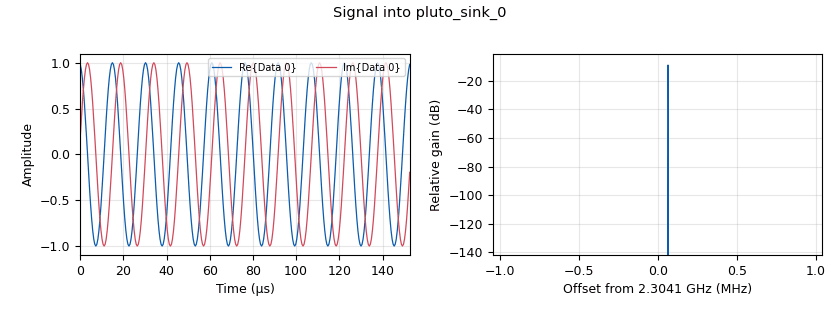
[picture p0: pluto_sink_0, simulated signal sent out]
<?xml version='1.0' encoding='utf-8'?>
<?grc format='1' created='3.7.12'?>
<flow_graph>
<block>
<key>options</key>
<param><key>id</key><value>top_block</value></param>
<param><key>generate_options</key><value>qt_gui</value></param>
</block>
<block>
<key>variable</key>
<param><key>id</key><value>samp_rate</value></param>
<param><key>value</key><value>32000</value></param>
</block>
<block>
<key>analog_sig_source_x</key>
<param><key>id</key><value>analog_sig_source_x_0</value></param>
<param><key>amp</key><value>1</value></param>
<param><key>freq</key><value>1000</value></param>
<param><key>offset</key><value>0</value></param>
<param><key>type</key><value>complex</value></param>
<param><key>samp_rate</key><value>samp_rate</value></param>
<param><key>waveform</key><value>analog.GR_COS_WAVE</value></param>
</block>
<block>
<key>pluto_sink</key>
<param><key>id</key><value>pluto_sink_0</value></param>
<param><key>attenuation</key><value>0.0</value></param>
<param><key>buffer_size</key><value>0x8000</value></param>
<param><key>cyclic</key><value>False</value></param>
<param><key>auto_filter</key><value>True</value></param>
<param><key>filter</key><value></value></param>
<param><key>uri</key><value>ip:pluto.local</value></param>
<param><key>frequency</key><value>2304100000</value></param>
<param><key>bandwidth</key><value>20000000</value></param>
<param><key>samplerate</key><value>2084000</value></param>
</block>
<connection><source_block_id>analog_sig_source_x_0</source_block_id><sink_block_id>pluto_sink_0</sink_block_id><source_key>0</source_key><sink_key>0</sink_key></connection>
</flow_graph>
